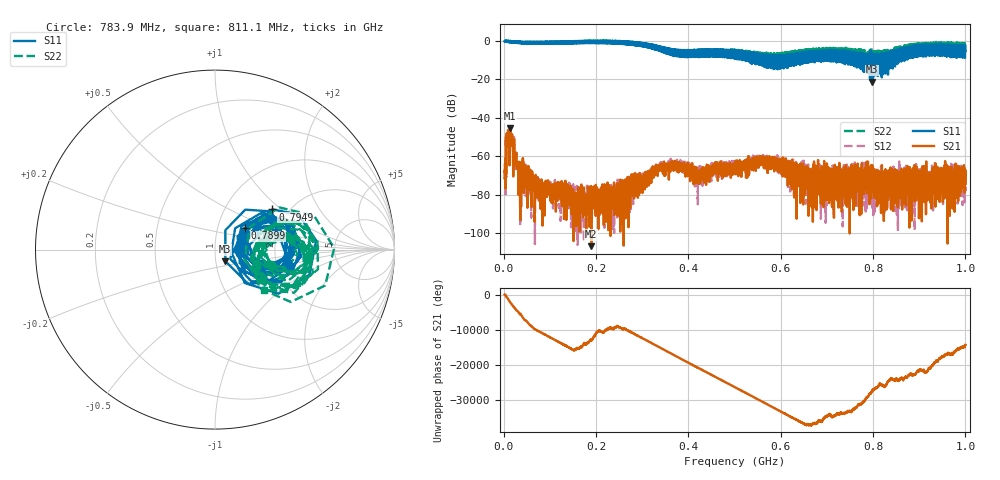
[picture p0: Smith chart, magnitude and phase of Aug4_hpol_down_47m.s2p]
!Keysight Technologies N9923A: A.12.45
!Date: Tuesday, 05 August 2025 19:12:35
!Timezone: (UTC+08:00) Kuala Lumpur, Singapore
!Model: N9923A
!Serial: MY61181427
!GPS Latitude:
!GPS Longitude:
!GPS TimeStamp: 0001-01-01 00:00:00Z
!GPS Seconds Since Last Read: 0
!CHECKSUM:1487571111
!Correction: S11(ON U)S21(ON U)S12(ON U)S22(ON U)
!S2P File: Measurements:S11,S21,S12,S22:
# Hz S DB R 50
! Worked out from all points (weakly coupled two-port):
!   4001 points, 2 MHz to 1 GHz, reference 50 ohm
!   highest |S21| = -45.50 dB at 14.47 MHz (marker M1); lowest = -106.8 dB at 189.6 MHz (marker M2)
!   lowest |S11| = -21.3 dB at 796.9 MHz (marker M3), VSWR 1.19, Z = 55.6 - j7.2 ohm
!   |S11| at or under -10 dB: 575.8155 MHz to 576.6033 MHz (787.8 kHz wide, 0.137 % of centre); 582.5661 MHz to 583.3644 MHz (798.3 kHz wide, 0.137 % of centre); 589.3171 MHz to 590.1175 MHz (800.4 kHz wide, 0.136 % of centre)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
!   |S22| runs from -15.2 to 0.2 dB; largest |S21 - S12| = 0.0011
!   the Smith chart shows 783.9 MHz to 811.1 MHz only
!   S11 on the Smith chart (normalised r, x): 783.9 MHz: 2.30, -0.37; 789.9 MHz: 1.35, +0.33; 794.9 MHz: 1.65, +0.87; 811.1 MHz: 2.37, -0.53
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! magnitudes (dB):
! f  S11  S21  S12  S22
! 2 MHz  -0.1  -71.5  -71.8  -0.1
! 9.735 MHz  -0.2  -47.2  -47.2  -0.1
! 14.47 MHz  -0.6  -45.5  -45.3  -0.5
! 33.44 MHz  -0.4  -63.0  -63.7  -0.4
! 42.92 MHz  -1.1  -67.4  -67.6  -1.0
! 85.08 MHz  -0.7  -76.4  -76.3  -0.6
! 168.4 MHz  -1.2  -81.6  -78.6  -1.0
! 189.6 MHz  -0.1  -106.8  -106.8  0.2
! 265.7 MHz  -1.8  -72.2  -73.1  -1.4
! 334.8 MHz  -3.8  -67.9  -67.0  -4.5
! 378.7 MHz  -4.6  -64.4  -63.4  -4.8
! 418.7 MHz  -5.3  -72.0  -67.5  -5.9
! 501 MHz  -5.7  -66.2  -65.9  -6.5
! 580.3 MHz  -7.8  -60.8  -61.2  -8.0
! 667.4 MHz  -8.8  -79.1  -66.3  -8.7
! 783.9 MHz  -7.8  -68.3  -89.9  -9.8
! 789.9 MHz  -13.8  -70.0  -74.8  -6.2
! 794.9 MHz  -8.2  -68.4  -65.5  -7.7
! 796.9 MHz  -21.3  -73.4  -72.9  -7.4
! 811.1 MHz  -7.3  -67.5  -71.8  -9.0
! 833.8 MHz  -10.5  -67.3  -71.6  -5.4
! 1 GHz  -2.5  -70.9  -67.3  -2.3
